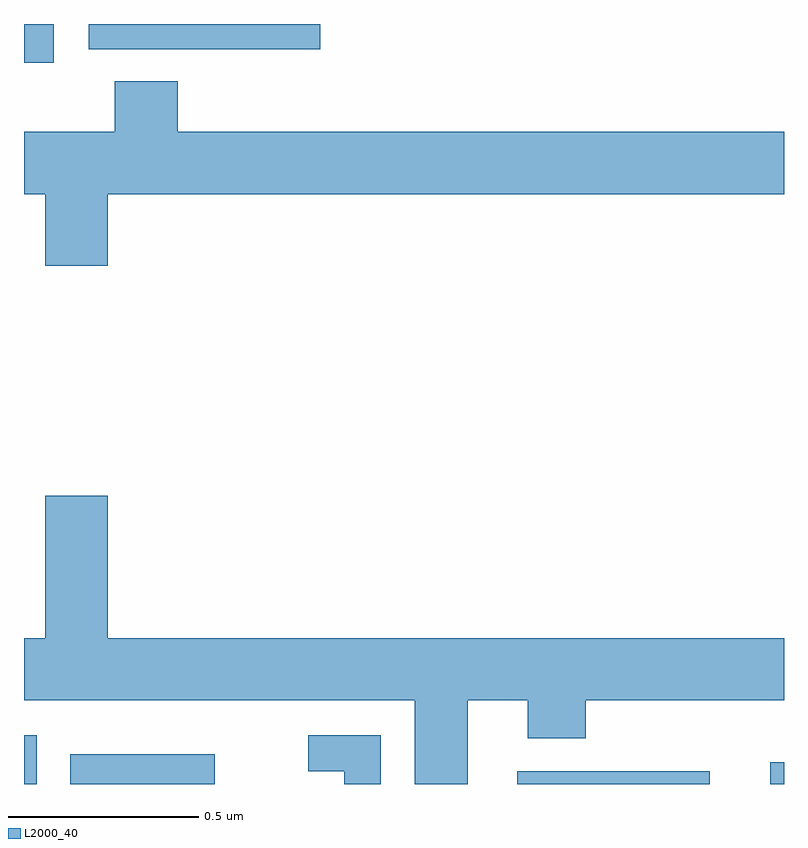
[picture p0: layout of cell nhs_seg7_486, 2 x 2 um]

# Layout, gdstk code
import gdstk
lib = gdstk.Library(unit=1e-6, precision=1e-09)
def R(c, l, rs):  # rectangles x0, y0, x1, y1
    for r in rs: c.add(gdstk.rectangle(r[:2], r[2:], *l))
def P(c, l, *ps):  # polygons
    for p in ps: c.add(gdstk.Polygon(p, *l))
L2000_40 = (2000, 40)

nhs_seg7_486 = lib.new_cell('nhs_seg7_486')
R(nhs_seg7_486, L2000_40, [(117,1063,117.033,1063.128), (117.122,1063,117.502,1063.078), (118.298,1063,118.804,1063.034), (118.964,1063,119,1063.057), (117,1064.898,117.078,1065)])
P(nhs_seg7_486, L2000_40, [(117.779,1065),(117.171,1065),(117.171,1064.934),(117.487,1064.934),(117.487,1064.933),(117.779,1064.933)],
  [(117.22,1064.552),(119,1064.552),(119,1064.716),(117.404,1064.716),(117.404,1064.849),(117.239,1064.849),(117.239,1064.716),(117,1064.716),(117,1064.552),(117.056,1064.552),(117.056,1064.364),(117.22,1064.364)],
  [(118.168,1063.22),(118.325,1063.22),(118.325,1063.121),(118.478,1063.121),(118.478,1063.22),(119,1063.22),(119,1063.384),(117.22,1063.384),(117.22,1063.759),(117.056,1063.759),(117.056,1063.384),(117,1063.384),(117,1063.22),(118.028,1063.22),(118.028,1063),(118.168,1063)],
  [(117.939,1063.128),(117.748,1063.128),(117.748,1063.033),(117.843,1063.033),(117.843,1063),(117.939,1063)])

lib.write_gds('nhs_seg7_486.gds')
